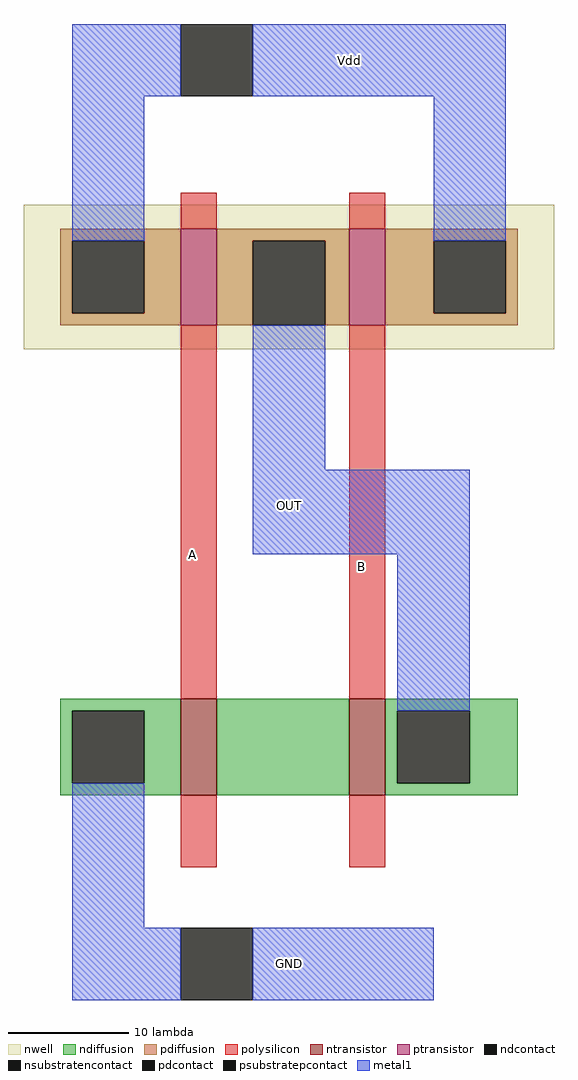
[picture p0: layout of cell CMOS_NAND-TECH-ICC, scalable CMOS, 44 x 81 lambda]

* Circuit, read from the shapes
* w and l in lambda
.subckt CMOS_NAND-TECH-ICC A B GND OUT Vdd
M1 n1 A GND GND nfet w=8 l=3
M2 OUT B n1 GND nfet w=8 l=3
M3 OUT A Vdd n2 pfet w=8 l=3
M4 Vdd B OUT n2 pfet w=8 l=3
.ends

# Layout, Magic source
magic
tech scmos
<< nwell >>
rect -3 3 41 15
<< polysilicon >>
rect 10 13 13 16
rect 24 13 27 16
rect 10 -26 13 5
rect 24 -26 27 5
rect 10 -40 13 -34
rect 24 -40 27 -34
<< ndiffusion >>
rect 0 -27 10 -26
rect 0 -33 1 -27
rect 7 -33 10 -27
rect 0 -34 10 -33
rect 13 -34 24 -26
rect 27 -27 38 -26
rect 27 -33 28 -27
rect 34 -33 38 -27
rect 27 -34 38 -33
<< pdiffusion >>
rect 0 12 10 13
rect 0 6 1 12
rect 7 6 10 12
rect 0 5 10 6
rect 13 12 24 13
rect 13 5 16 12
rect 22 5 24 12
rect 27 12 38 13
rect 27 6 31 12
rect 37 6 38 12
rect 27 5 38 6
<< metal1 >>
rect 1 24 10 30
rect 16 24 37 30
rect 1 12 7 24
rect 31 12 37 24
rect 16 -7 22 5
rect 16 -14 34 -7
rect 28 -27 34 -14
rect 1 -45 7 -33
rect 1 -51 10 -45
rect 16 -51 31 -45
<< ntransistor >>
rect 10 -34 13 -26
rect 24 -34 27 -26
<< ptransistor >>
rect 10 5 13 13
rect 24 5 27 13
<< ndcontact >>
rect 1 -33 7 -27
rect 28 -33 34 -27
<< pdcontact >>
rect 1 6 7 12
rect 16 5 22 12
rect 31 6 37 12
<< psubstratepcontact >>
rect 10 -51 16 -45
<< nsubstratencontact >>
rect 10 24 16 30
<< labels >>
rlabel polysilicon 11 -14 11 -14 1 A
rlabel polysilicon 25 -15 25 -15 1 B
rlabel metal1 24 27 24 27 5 Vdd
rlabel metal1 19 -48 19 -48 1 GND
rlabel metal1 19 -10 19 -10 1 OUT
<< end >>
